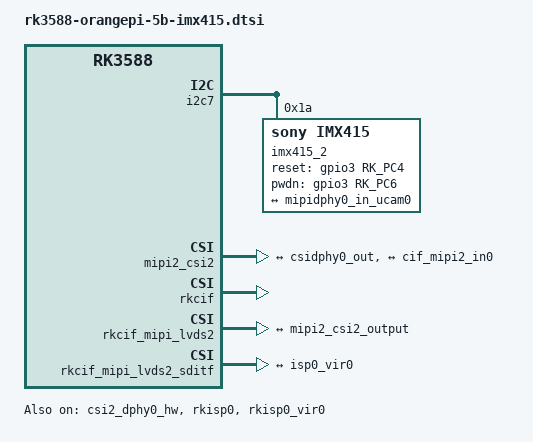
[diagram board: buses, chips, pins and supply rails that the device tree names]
// SPDX-License-Identifier: (GPL-2.0+ OR MIT)
/*
 * Copyright (c) 2021 Rockchip Electronics Co., Ltd.
 *
 */

&csi2_dphy0_hw {
	status = "disabled";
};
&csi2_dphy0 {
	status = "disabled";

	ports {
		#address-cells = <1>;
		#size-cells = <0>;
		port@0 {
			reg = <0>;
			#address-cells = <1>;
			#size-cells = <0>;

			mipidphy0_in_ucam0: endpoint@1 {
				reg = <1>;
				remote-endpoint = <&imx415_out0>;
				data-lanes = <1 2 3 4>;
			};
		};
		port@1 {
			reg = <1>;
			#address-cells = <1>;
			#size-cells = <0>;

			csidphy0_out: endpoint@0 {
				reg = <0>;
				remote-endpoint = <&mipi2_csi2_input>;
			};
		};
	};
};

&csi2_dphy0_hw {
	status = "okay";
};

&i2c7 {
	status = "okay";

	imx415_2: imx415-2@1a {
		compatible = "sony,imx415";
		reg = <0x1a>;
		clocks = <&cru CLK_MIPI_CAMARAOUT_M3>;
		clock-names = "xvclk";
		pinctrl-names = "default";
		pinctrl-0 = <&mipim0_camera3_clk>;
		power-domains = <&power RK3588_PD_VI>;
		reset-gpios = <&gpio3 RK_PC4 GPIO_ACTIVE_HIGH>;
                pwdn-gpios = <&gpio3 RK_PC6 GPIO_ACTIVE_HIGH>;
		rockchip,camera-module-index = <0>;
		rockchip,camera-module-facing = "back";
		rockchip,camera-module-name = "IMX415";
		rockchip,camera-module-lens-name = "default";

		port {
			imx415_out0: endpoint {
				remote-endpoint = <&mipidphy0_in_ucam0>;
				data-lanes = <1 2 3 4>;
			};
		};
	};
};

&mipi2_csi2 {
	status = "okay";

	ports {
		#address-cells = <1>;
		#size-cells = <0>;

		port@0 {
			reg = <0>;
			#address-cells = <1>;
			#size-cells = <0>;

			mipi2_csi2_input: endpoint@1 {
				reg = <1>;
				remote-endpoint = <&csidphy0_out>;
			};
		};

		port@1 {
			reg = <1>;
			#address-cells = <1>;
			#size-cells = <0>;

			mipi2_csi2_output: endpoint@0 {
				reg = <0>;
				remote-endpoint = <&cif_mipi2_in0>;
			};
		};
	};
};

&pinctrl {
	cam {
		mipidphy0_pwr: mipidphy0-pwr {
			rockchip,pins =
				/* camera power en */
				<1 RK_PB1 RK_FUNC_GPIO &pcfg_pull_none>;
		};
	};
};

&rkcif {
	status = "okay";
};

&rkcif_mipi_lvds2 {
	status = "okay";

	port {
		cif_mipi2_in0: endpoint {
			remote-endpoint = <&mipi2_csi2_output>;
		};
	};
};

&rkcif_mipi_lvds2_sditf {
	status = "okay";

	port {
		mipi_lvds2_sditf: endpoint {
			remote-endpoint = <&isp0_vir0>;
		};
	};
};

&rkcif_mmu {
	status = "okay";
};

&rkisp0 {
	status = "okay";
};

&isp0_mmu {
	status = "okay";
};

&rkisp0_vir0 {
	status = "okay";

	port {
		#address-cells = <1>;
		#size-cells = <0>;

		isp0_vir0: endpoint@0 {
			reg = <0>;
			remote-endpoint = <&mipi_lvds2_sditf>;
		};
	};
};
